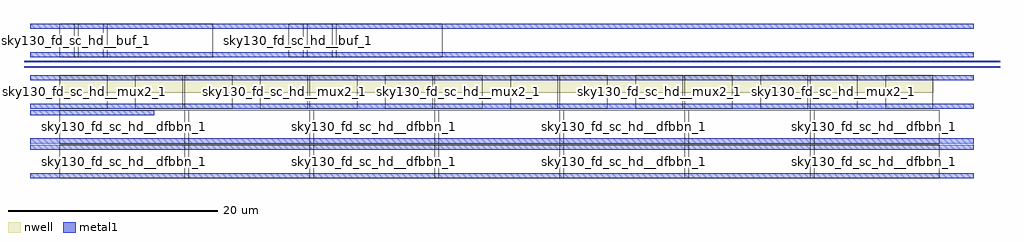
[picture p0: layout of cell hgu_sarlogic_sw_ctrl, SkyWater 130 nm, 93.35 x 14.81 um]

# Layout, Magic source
magic
tech sky130A
<< nwell >>
rect -21 763 8335 930
<< metal1 >>
rect -299 1375 8722 1423
rect -299 1103 8722 1151
rect -361 1052 8974 1069
rect -361 999 8974 1016
rect -299 882 8722 930
rect -299 610 8722 658
rect -299 548 883 596
rect -299 276 8722 324
rect -299 214 8722 262
rect -299 -58 8722 -10
use sky130_fd_sc_hd__buf_1  x1 $PDKPATH/libs.ref/sky130_fd_sc_hd/mag
transform 1 0 0 0 1 1127
box -19 -24 157 296
use sky130_fd_sc_hd__buf_16  x2 $PDKPATH/libs.ref/sky130_fd_sc_hd/mag
transform 1 0 414 0 1 1127
box -19 -24 1031 296
use sky130_fd_sc_hd__buf_4  x3 $PDKPATH/libs.ref/sky130_fd_sc_hd/mag
transform 1 0 138 0 1 1127
box -19 -24 295 296
use sky130_fd_sc_hd__dfbbn_1  x4 $PDKPATH/libs.ref/sky130_fd_sc_hd/mag
transform 1 0 0 0 1 300
box -19 -24 1215 296
use sky130_fd_sc_hd__dfbbn_1  x5
transform -1 0 1196 0 1 -34
box -19 -24 1215 296
use sky130_fd_sc_hd__mux2_1  x6 $PDKPATH/libs.ref/sky130_fd_sc_hd/mag
transform 1 0 0 0 1 634
box -19 -24 433 296
use sky130_fd_sc_hd__mux2_1  x7
transform -1 0 1138 0 1 634
box -19 -24 433 296
use sky130_fd_sc_hd__mux2_1  x8
transform 1 0 1196 0 1 634
box -19 -24 433 296
use sky130_fd_sc_hd__mux2_1  x9
transform -1 0 2334 0 1 634
box -19 -24 433 296
use sky130_fd_sc_hd__mux2_1  x10
transform 1 0 2392 0 1 634
box -19 -24 433 296
use sky130_fd_sc_hd__mux2_1  x11
transform -1 0 3529 0 1 634
box -19 -24 433 296
use sky130_fd_sc_hd__mux2_1  x12
transform 1 0 3588 0 1 634
box -19 -24 433 296
use sky130_fd_sc_hd__mux2_1  x13
transform -1 0 4726 0 1 634
box -19 -24 433 296
use sky130_fd_sc_hd__mux2_1  x14
transform 1 0 4784 0 1 634
box -19 -24 433 296
use sky130_fd_sc_hd__mux2_1  x15
transform -1 0 5922 0 1 634
box -19 -24 433 296
use sky130_fd_sc_hd__mux2_1  x16
transform 1 0 5980 0 1 634
box -19 -24 433 296
use sky130_fd_sc_hd__mux2_1  x17
transform -1 0 7117 0 1 634
box -19 -24 433 296
use sky130_fd_sc_hd__mux2_1  x18
transform 1 0 7176 0 1 634
box -19 -24 433 296
use sky130_fd_sc_hd__dfbbn_1  x19
transform 1 0 1196 0 1 300
box -19 -24 1215 296
use sky130_fd_sc_hd__mux2_1  x20
transform -1 0 8314 0 1 634
box -19 -24 433 296
use sky130_fd_sc_hd__dfbbn_1  x21
transform -1 0 2392 0 1 -34
box -19 -24 1215 296
use sky130_fd_sc_hd__buf_1  x22
transform 1 0 2192 0 1 1127
box -19 -24 157 296
use sky130_fd_sc_hd__dfbbn_1  x23
transform 1 0 2392 0 1 300
box -19 -24 1215 296
use sky130_fd_sc_hd__dfbbn_1  x24
transform -1 0 3588 0 1 -34
box -19 -24 1215 296
use sky130_fd_sc_hd__dfbbn_1  x25
transform 1 0 3588 0 1 300
box -19 -24 1215 296
use sky130_fd_sc_hd__dfbbn_1  x26
transform -1 0 4784 0 1 -34
box -19 -24 1215 296
use sky130_fd_sc_hd__buf_4  x27
transform 1 0 2330 0 1 1127
box -19 -24 295 296
use sky130_fd_sc_hd__dfbbn_1  x28
transform 1 0 4784 0 1 300
box -19 -24 1215 296
use sky130_fd_sc_hd__dfbbn_1  x29
transform -1 0 5980 0 1 -34
box -19 -24 1215 296
use sky130_fd_sc_hd__buf_16  x30
transform 1 0 2606 0 1 1127
box -19 -24 1031 296
use sky130_fd_sc_hd__dfbbn_1  x31
transform 1 0 5980 0 1 300
box -19 -24 1215 296
use sky130_fd_sc_hd__dfbbn_1  x32
transform -1 0 7176 0 1 -34
box -19 -24 1215 296
use sky130_fd_sc_hd__dfbbn_1  x34
transform 1 0 7176 0 1 300
box -19 -24 1215 296
use sky130_fd_sc_hd__dfbbn_1  x35
transform -1 0 8372 0 1 -34
box -19 -24 1215 296
<< end >>
